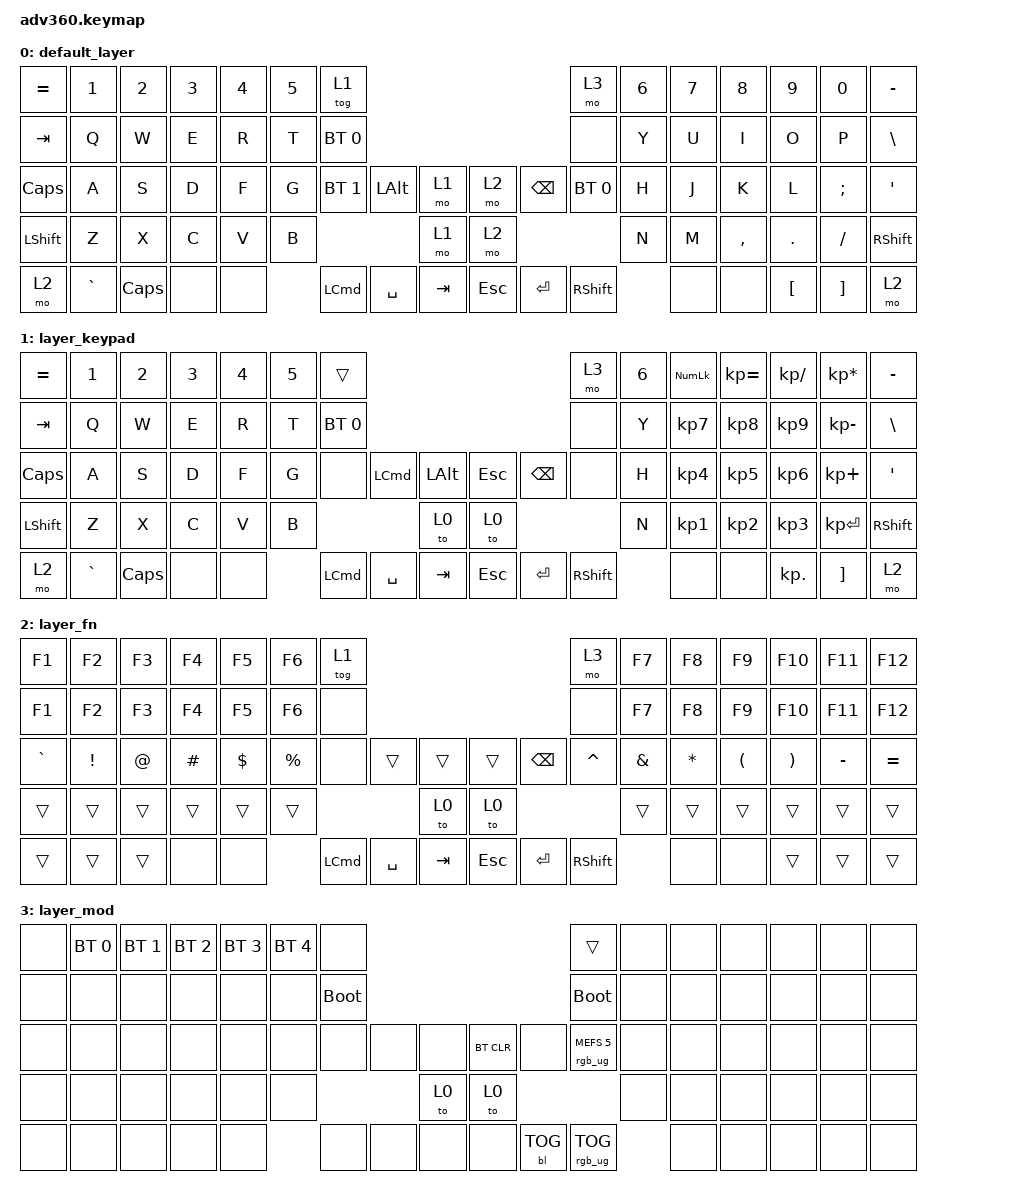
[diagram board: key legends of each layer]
/*
 * Copyright (c) 2020 The ZMK Contributors
 *
 * SPDX-License-Identifier: MIT
 */
/* THIS FILE WAS GENERATED!
 *
 * This file was generated automatically. You may or may not want to
 * edit it directly.
 */

#include <behaviors.dtsi>
#include <dt-bindings/zmk/backlight.h>
#include <dt-bindings/zmk/bt.h>
#include <dt-bindings/zmk/keys.h>
#include <dt-bindings/zmk/rgb.h>

/ {
    behaviors {
        #include "macros.dtsi"
    #include "version.dtsi"

        hm: homerow_mods {
            compatible = "zmk,behavior-hold-tap";
            label = "HOMEROW_MODS";
            #binding-cells = <2>;
            tapping-term-ms = <200>;
            quick_tap_ms = <175>;
            flavor = "tap-preferred";
            bindings = <&kp>, <&kp>;
        };
    };

    keymap {
        compatible = "zmk,keymap";

        default_layer {
            bindings = <
&kp EQUAL  &kp N1     &kp N2    &kp N3  &kp N4  &kp N5  &tog 1                                                               &mo 3            &kp N6  &kp N7  &kp N8     &kp N9    &kp N0    &kp MINUS
&kp TAB    &kp Q      &kp W     &kp E   &kp R   &kp T   &bt BT_SEL 0                                                         &none            &kp Y   &kp U   &kp I      &kp O     &kp P     &kp BSLH
&kp CAPS   &kp A      &kp S     &kp D   &kp F   &kp G   &bt BT_SEL 1      &kp LEFT_ALT  &mo 1        &mo 2    &kp BACKSPACE  &bt BT_SEL 0     &kp H   &kp J   &kp K      &kp L     &kp SEMI  &kp SQT
&kp LSHFT  &kp Z      &kp X     &kp C   &kp V   &kp B                                   &mo 1        &mo 2                                    &kp N   &kp M   &kp COMMA  &kp DOT   &kp FSLH  &kp RSHFT
&mo 2      &kp GRAVE  &kp CAPS  &none   &none           &kp LEFT_COMMAND  &kp SPACE     &kp TAB      &kp ESC  &kp ENTER      &kp RIGHT_SHIFT          &none   &none      &kp LBKT  &kp RBKT  &mo 2
            >;
        };

        layer_keypad {
            bindings = <
&kp EQUAL     &kp N1     &kp N2    &kp N3  &kp N4  &kp N5  &trans                                                                    &mo 3            &kp N6  &kp KP_NUM  &kp KP_EQUAL  &kp KP_DIVIDE  &kp KP_MULTIPLY  &kp MINUS
&kp TAB       &kp Q      &kp W     &kp E   &kp R   &kp T   &bt BT_SEL 0                                                              &none            &kp Y   &kp KP_N7   &kp KP_N8     &kp KP_N9      &kp KP_MINUS     &kp BSLH
&kp CAPSLOCK  &kp A      &kp S     &kp D   &kp F   &kp G   &none             &kp LEFT_COMMAND  &kp LALT      &kp ESC  &kp BACKSPACE  &none            &kp H   &kp KP_N4   &kp KP_N5     &kp KP_N6      &kp KP_PLUS      &kp SQT
&kp LSHFT     &kp Z      &kp X     &kp C   &kp V   &kp B                                       &to 0         &to 0                                    &kp N   &kp KP_N1   &kp KP_N2     &kp KP_N3      &kp KP_ENTER     &kp RSHFT
&mo 2         &kp GRAVE  &kp CAPS  &none   &none           &kp LEFT_COMMAND  &kp SPACE         &kp TAB       &kp ESC  &kp ENTER      &kp RIGHT_SHIFT          &none       &none         &kp KP_DOT     &kp RBKT         &mo 2
            >;
        };

        layer_fn {
            bindings = <
&kp F1     &kp F2           &kp F3       &kp F4    &kp F5      &kp F6       &tog 1                                                            &mo 3            &kp F7    &kp F8        &kp F9    &kp F10   &kp F11    &kp F12
&kp F1     &kp F2           &kp F3       &kp F4    &kp F5      &kp F6       &none                                                             &none            &kp F7    &kp F8        &kp F9    &kp F10   &kp F11    &kp F12
&kp GRAVE  &kp EXCLAMATION  &kp AT_SIGN  &kp HASH  &kp DOLLAR  &kp PERCENT  &none             &trans     &trans       &trans   &kp BACKSPACE  &kp CARET        &kp AMPS  &kp ASTERISK  &kp LPAR  &kp RPAR  &kp MINUS  &kp EQUAL
&trans     &trans           &trans       &trans    &trans      &trans                                    &to 0        &to 0                                    &trans    &trans        &trans    &trans    &trans     &trans
&trans     &trans           &trans       &none     &none                    &kp LEFT_COMMAND  &kp SPACE  &kp TAB      &kp ESC  &kp ENTER      &kp RIGHT_SHIFT            &none         &none     &trans    &trans     &trans
            >;
        };

        layer_mod {
            bindings = <
&none  &bt BT_SEL 0  &bt BT_SEL 1  &bt BT_SEL 2  &bt BT_SEL 3  &bt BT_SEL 4  &none                                                  &trans                  &none  &none  &none  &none  &none  &none
&none  &none         &none         &none         &none         &none         &bootloader                                            &bootloader             &none  &none  &none  &none  &none  &none
&none  &none         &none         &none         &none         &none         &none        &none  &none      &bt BT_CLR  &none       &rgb_ug RGB_MEFS_CMD 5  &none  &none  &none  &none  &none  &none
&none  &none         &none         &none         &none         &none                             &to 0      &to 0                                           &none  &none  &none  &none  &none  &none
&none  &none         &none         &none         &none                       &none        &none  &none      &none       &bl BL_TOG  &rgb_ug RGB_TOG                &none  &none  &none  &none  &none
            >;
        };
    };
};
